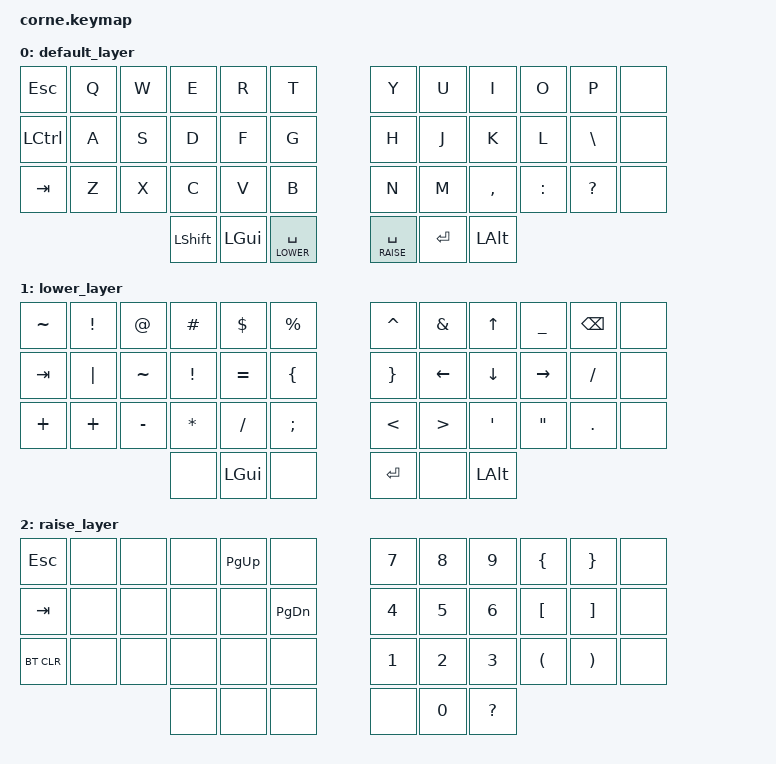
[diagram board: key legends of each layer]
/*
 * Copyright (c) 2020 The ZMK Contributors
 *
 * SPDX-License-Identifier: MT
 */

#include <behaviors.dtsi>
#include <dt-bindings/zmk/keys.h>
#include <dt-bindings/zmk/bt.h>

#define DEFAULT 0
#define LOWER   1
#define RAISE   2

/ {

	 behaviors {
        td0: tap_dance_0 {
            compatible = "zmk,behavior-tap-dance";
            label = "TAP_DANCE_0";
            #binding-cells = <0>;
            tapping-term-ms = <200>;
            bindings = <&kp SPACE>, <&kp ENTER>;
        };
    };

  keymap {
   compatible = "zmk,keymap";

   default_layer {
            bindings = <
        //╭──────────┬──────────┬──────────┬──────────┬──────────╮   ╭──────────┬──────────┬──────────┬──────────┬──────────╮
  &kp ESC 	 &kp Q       &kp W     &kp E      &kp R      &kp T          &kp Y      &kp U      &kp I      &kp O      &kp P  	 &none
        //├──────────┼──────────┼──────────┼──────────┼──────────┤   ├──────────┼──────────┼──────────┼──────────┼──────────┤
  &kp LCTRL  &kp A   		 &kp S     &kp D      &kp F      &kp G          &kp H      &kp J      &kp K      &kp L  	  &kp BSLH &none
        //├──────────┼──────────┼──────────┼──────────┼──────────┤   ├──────────┼──────────┼──────────┼──────────┼──────────┤
  &kp TAB  	 &kp Z      &kp X     &kp C      &kp V    	&kp B    	 		 &kp N    	&kp M  		 &kp COMMA &kp COLON &kp QMARK  &none
        //╰──────────┴──────────┴──────────┼──────────┼──────────┤   ├──────────┼──────────┼──────────┴──────────┴──────────╯
                           	 &kp LSHIFT  &kp LGUI &lt LOWER SPACE  		 &lt RAISE SPACE &kp ENTER &kp LEFT_ALT
        //               	 ╰─────────────────────────────────────╯   ╰────────────────────────────────────╯
            >;
      };

		lower_layer {
            bindings = <
        //╭──────────┬──────────┬──────────┬──────────┬──────────╮   ╭──────────┬──────────┬──────────┬──────────┬──────────╮
    &kp TILDE &kp EXCL 		&kp AT    &kp HASH   &kp DLLR		&kp PRCNT     &kp CARET 	&kp AMPS   	&kp UP 		 &kp UNDER  &kp BSPC &none
        //├──────────┼──────────┼──────────┼──────────┼──────────┤   ├──────────┼──────────┼──────────┼──────────┼──────────┤
    &kp TAB &kp PIPE 	 &kp TILDE 	&kp EXCL 	 &kp EQUAL  &kp LBRC 			  &kp RBRC	  &kp LEFT   &kp DOWN 	 &kp RIGHT  &kp FSLH &none
        //├──────────┼──────────┼──────────┼──────────┼──────────┤   ├──────────┼──────────┼──────────┼──────────┼──────────┤
    &kp PLUS &kp PLUS  &kp MINUS 	&kp STAR 	 &kp FSLH 	&kp SEMI 				&kp LT 	  &kp GT 			&kp SQT  	 &kp DQT 		&kp DOT  &none
        //╰──────────┴──────────┴──────────┼──────────┼──────────┤   ├──────────┼──────────┼──────────┴──────────┴──────────╯
                                  &none 			&kp LGUI 	&none 			 &kp ENTER  &none 		 &kp LEFT_ALT 
        //                      ╰──────────┴──────────┴──────────╯   ╰──────────┴──────────┴──────────────╯
      >;
    };


raise_layer {
            bindings = <
        //╭──────────┬──────────┬──────────┬──────────┬──────────╮   ╭──────────┬──────────┬──────────┬──────────┬──────────╮
       &kp ESC &none    &none    	 &none 		 &kp PG_UP  &none 					&kp N7 		&kp N8   		&kp N9 		&kp LBRC   &kp RBRC  &none
        //├──────────┼──────────┼──────────┼──────────┼──────────┤   ├──────────┼──────────┼──────────┼──────────┼──────────┤
      &kp TAB  &none  	&none 		 &none 			&none 		&kp PG_DN   		&kp N4 		&kp N5 			&kp N6 		&kp LBKT   &kp RBKT  &none
        //├──────────┼──────────┼──────────┼──────────┼──────────┤   ├──────────┼──────────┼──────────┼──────────┼──────────┤
     &bt BT_CLR &none  &none      &none   	  &none     &none 		 		 	&kp N1 		&kp N2 			&kp N3 		&kp LPAR  	&kp RPAR &none
        //╰──────────┴──────────┴──────────┼──────────┼──────────┤   ├──────────┼──────────┼──────────┴──────────┴──────────╯
                                   &none    	&none   	&none 				 &none 			&kp N0 			&kp QMARK
        //                      ╰──────────┴──────────┴──────────╯   ╰──────────┴──────────┴──────────────╯
      >;
    };
  };
};

